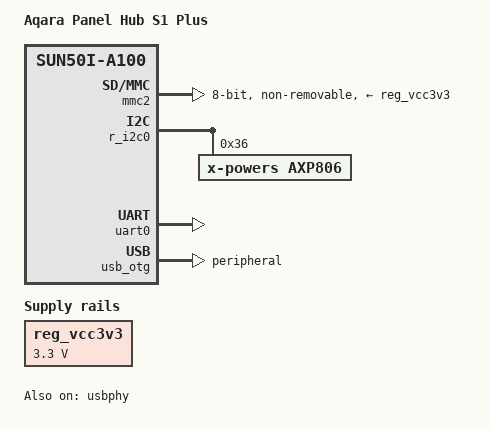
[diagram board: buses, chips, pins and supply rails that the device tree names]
// SPDX-License-Identifier: (GPL-2.0+ OR MIT)
/*
 * Aqara Panel Hub S1 Plus (MP-K03D, "MagicPad S1 Plus"), Allwinner A133.
 * Minimal description for running U-Boot from FEL: console UART0 on PB9/PB10,
 * 8-bit eMMC on mmc2 (IO at 3.3 V from AXP806 DCDC-E), AXP806 PMIC on R_I2C @0x36.
 */

/dts-v1/;

#include "sun50i-a100.dtsi"
#include "sun50i-a100-cpu-opp.dtsi"

/{
	model = "Aqara Panel Hub S1 Plus";
	compatible = "aqara,s1-plus", "allwinner,sun50i-a100";

	aliases {
		serial0 = &uart0;
		mmc0 = &mmc2;
	};

	chosen {
		stdout-path = "serial0:115200n8";
	};

	/* AXP806 DCDC-E, measured 3.3 V on the running stock system (eMMC, UART0, touch). */
	reg_vcc3v3: vcc3v3 {
		compatible = "regulator-fixed";
		regulator-name = "vcc-3v3";
		regulator-min-microvolt = <3300000>;
		regulator-max-microvolt = <3300000>;
		regulator-always-on;
	};
};

&mmc2 {
	vmmc-supply = <&reg_vcc3v3>;
	vqmmc-supply = <&reg_vcc3v3>;
	cap-mmc-hw-reset;
	non-removable;
	bus-width = <8>;
	status = "okay";
};

&r_i2c0 {
	status = "okay";

	axp806: pmic@36 {
		compatible = "x-powers,axp806";
		reg = <0x36>;
		x-powers,self-working-mode;
	};
};

&uart0 {
	pinctrl-names = "default";
	pinctrl-0 = <&uart0_pb_pins>;
	status = "okay";
};

/* USB-C is the OTG port (the same one FEL uses): peripheral mode for fastboot. */
&usb_otg {
	dr_mode = "peripheral";
	status = "okay";
};

&usbphy {
	status = "okay";
};
